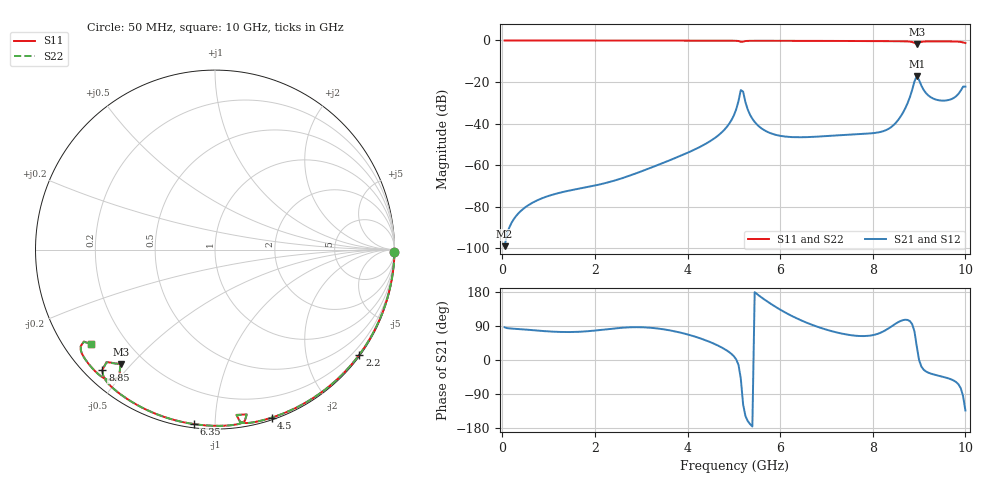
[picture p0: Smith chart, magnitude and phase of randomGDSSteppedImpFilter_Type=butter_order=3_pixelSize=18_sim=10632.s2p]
! freq	dB(S11)	phase(S11)	dB(S12)	phase(S12)
!  dB(S21)	phase(S21)	dB(S22)	phase(S22)
!S-par simulation data
#  GHz  S  DB  R 50
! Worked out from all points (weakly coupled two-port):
!   200 points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, 50 MHz to 10 GHz, reference 50 ohm
!   highest |S21| = -17.18 dB at 8.95 GHz (marker M1); lowest = -99.0 dB at 50 MHz (marker M2)
!   lowest |S11| = -1.7 dB at 8.95 GHz (marker M3), VSWR 10.52, Z = 5.8 - j23.3 ohm
!   |S11| at or under -10 dB: nowhere
!   |S22| runs from -1.6 to 0.0 dB; largest |S21 - S12| = 0
!   S11 on the Smith chart (normalised r, x): 50 MHz: open; 2.2 GHz: 0.03, -3.07; 4.5 GHz: 0.02, -1.39; 6.35 GHz: 0.02, -0.89; 8.85 GHz: 0.05, -0.43; 10 GHz: 0.08, -0.33
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0.05  -0.00 -0.8  -98.95 86.2  -98.95 86.2  -0.00 -0.8
0.5  -0.01 -8.4  -80.19 80.3  -80.19 80.3  -0.01 -8.4
1.75  -0.04 -28.8  -70.88 75.1  -70.88 75.1  -0.04 -28.8
2.2  -0.05 -36.1  -68.75 80.4  -68.75 80.4  -0.05 -36.1
3.4  -0.07 -54.8  -59.54 82.4  -59.54 82.4  -0.07 -54.8
4.5  -0.10 -71.4  -48.26 46.7  -48.26 46.7  -0.10 -71.4
4.85  -0.12 -76.7  -41.53 25.0  -41.53 25.0  -0.12 -76.7
5.05  -0.17 -80.4  -33.19 1.7  -33.19 1.7  -0.17 -80.3
5.15  -0.64 -82.6  -23.88 -48.8  -23.88 -48.8  -0.63 -82.6
5.2  -0.58 -79.1  -24.58 -117.2  -24.58 -117.2  -0.58 -79.1
5.35  -0.17 -82.4  -35.77 -169.1  -35.77 -169.1  -0.17 -82.4
5.55  -0.15 -85.7  -41.47 169.3  -41.47 169.3  -0.15 -85.6
6.35  -0.18 -96.9  -46.55 110.4  -46.55 110.4  -0.18 -96.9
6.7  -0.20 -101.7  -46.39 92.3  -46.39 92.3  -0.20 -101.7
8.35  -0.34 -123.8  -42.39 84.2  -42.39 84.2  -0.34 -123.8
8.65  -0.40 -128.5  -34.82 105.1  -34.82 105.1  -0.40 -128.4
8.85  -0.74 -133.1  -23.82 94.9  -23.82 94.9  -0.73 -133.0
8.95  -1.66 -129.5  -17.18 36.0  -17.18 36.0  -1.64 -129.5
9.15  -0.47 -131.1  -25.35 -30.4  -25.35 -30.4  -0.47 -131.1
9.4  -0.44 -135.6  -28.65 -40.8  -28.65 -40.8  -0.44 -135.6
9.7  -0.49 -140.3  -28.20 -51.5  -28.20 -51.5  -0.48 -140.2
10  -1.23 -142.8  -22.21 -133.3  -22.21 -133.3  -1.22 -142.8
